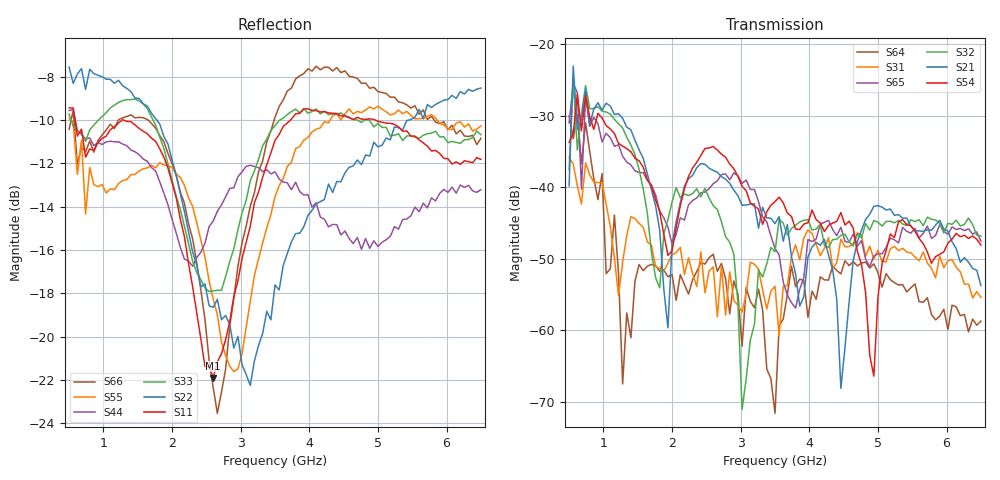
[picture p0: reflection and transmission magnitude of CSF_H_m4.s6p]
!Keysight Technologies,M9804A,MY58100912,A.14.10.03
!Date: Thursday, April 27, 2023 10:28:33
!Correction: S11(C  6-Port  )
!S12(C  6-Port  )
!S13(C  6-Port  )
!S14(C  6-Port  )
!S15(C  6-Port  )
!S16(C  6-Port  )
!S21(C  6-Port  )
!S22(C  6-Port  )
!S23(C  6-Port  )
!S24(C  6-Port  )
!S25(C  6-Port  )
!S26(C  6-Port  )
!S31(C  6-Port  )
!S32(C  6-Port  )
!S33(C  6-Port  )
!S34(C  6-Port  )
!S35(C  6-Port  )
!S36(C  6-Port  )
!S41(C  6-Port  )
!S42(C  6-Port  )
!S43(C  6-Port  )
!S44(C  6-Port  )
!S45(C  6-Port  )
!S46(C  6-Port  )
!S51(C  6-Port  )
!S52(C  6-Port  )
!S53(C  6-Port  )
!S54(C  6-Port  )
!S55(C  6-Port  )
!S56(C  6-Port  )
!S61(C  6-Port  )
!S62(C  6-Port  )
!S63(C  6-Port  )
!S64(C  6-Port  )
!S65(C  6-Port  )
!S66(C  6-Port  )
!S6P File: Measurement: :
# Hz S  RI  R 50
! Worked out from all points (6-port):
!   101 points, 500 MHz to 6.5 GHz, reference 50 ohm
!   strongest paths, dB at 500 MHz, 2 GHz, 3.5 GHz, 5 GHz, 6.5 GHz:
!     S54: -33.8, -48.9, -42.0, -55.4, -48.1
!     S21: -39.8, -48.0, -45.1, -42.6, -53.8
!     S32: -37.6, -42.1, -49.0, -44.9, -46.9
!     S65: -31.0, -48.0, -48.6, -49.3, -47.6
!     S31: -35.9, -49.5, -53.9, -48.8, -55.4
!     S64: -30.0, -52.2, -71.6, -52.0, -58.7
!   lowest |S11| = -21.9 dB at 2.6 GHz (marker M1), VSWR 1.17, Z = 42.8 + j1.87 ohm
!   |S11| at or under -10 dB: 585.9 MHz to 1.274 GHz (688.2 MHz wide, 74 % of centre); 1.292 GHz to 3.726 GHz (2.434 GHz wide, 97 % of centre); 4.958 GHz to end of sweep
